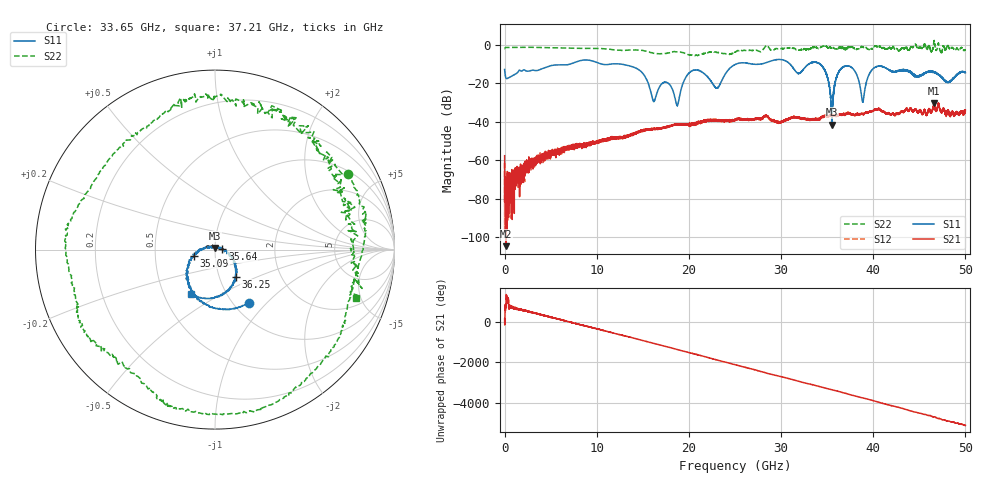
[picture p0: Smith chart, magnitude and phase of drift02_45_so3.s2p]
!Created with skrf (http://scikit-rf.org).
# Hz S RI R 50.0
!freq ReS11 ImS11 ReS21 ImS21 ReS12 ImS12 ReS22 ImS22
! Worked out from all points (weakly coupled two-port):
!   10001 points, 300 kHz to 50 GHz, reference 50 ohm
!   highest |S21| = -30.27 dB at 46.61 GHz (marker M1); lowest = -104.7 dB at 130.3 MHz (marker M2)
!   lowest |S11| = -41.5 dB at 35.5 GHz (marker M3), VSWR 1.02, Z = 50 + j0.84 ohm
!   |S11| at or under -10 dB: start of sweep to 7.178 GHz; 12.35 GHz to 25.17 GHz (12.83 GHz wide, 68.4 % of centre); 34.2 GHz to end of sweep (the widest 3 of 15)
!   |S22| runs from -5.7 to 2.2 dB; largest |S21 - S12| = 0.0042
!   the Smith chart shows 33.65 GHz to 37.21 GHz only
!   S11 on the Smith chart (normalised r, x): 33.65 GHz: 1.18, -0.80; 35.09 GHz: 0.79, -0.05; 35.64 GHz: 1.09, +0.01; 36.25 GHz: 1.19, -0.38; 37.21 GHz: 0.68, -0.37
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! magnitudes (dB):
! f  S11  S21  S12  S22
! 300 kHz  -12.9  -57.7  -61.5  -2.1
! 130.3 MHz  -17.2  -104.7  -76.1  -1.5
! 8.335 GHz  -8.2  -51.9  -52.0  -1.9
! 14.05 GHz  -11.8  -46.1  -46.3  -2.8
! 16.15 GHz  -29.2  -43.6  -43.9  -4.5
! 16.67 GHz  -23.3  -43.8  -43.8  -4.7
! 18.74 GHz  -31.7  -41.4  -41.5  -3.7
! 20.24 GHz  -13.9  -41.7  -41.5  -5.5
! 23.03 GHz  -22.6  -39.1  -39.7  -4.1
! 25 GHz  -10.3  -38.9  -39.5  -3.9
! 33.34 GHz  -9.3  -38.6  -39.2  -1.6
! 33.65 GHz  -9.1  -39.1  -38.5  -1.4
! 35.09 GHz  -18.3  -37.2  -37.2  -1.7
! 35.5 GHz  -41.5  -37.2  -36.9  -1.8
! 35.64 GHz  -27.5  -37.0  -36.9  -1.5
! 36.25 GHz  -14.4  -36.6  -36.6  -1.8
! 37.21 GHz  -11.0  -35.7  -35.6  -1.6
! 38.86 GHz  -29.8  -36.3  -36.0  -1.3
! 39.96 GHz  -12.7  -34.3  -34.5  -1.9
! 41.67 GHz  -13.0  -35.4  -35.5  -2.0
! 46.61 GHz  -14.3  -30.3  -30.2  2.2
! 50 GHz  -14.5  -34.0  -34.7  -2.8
